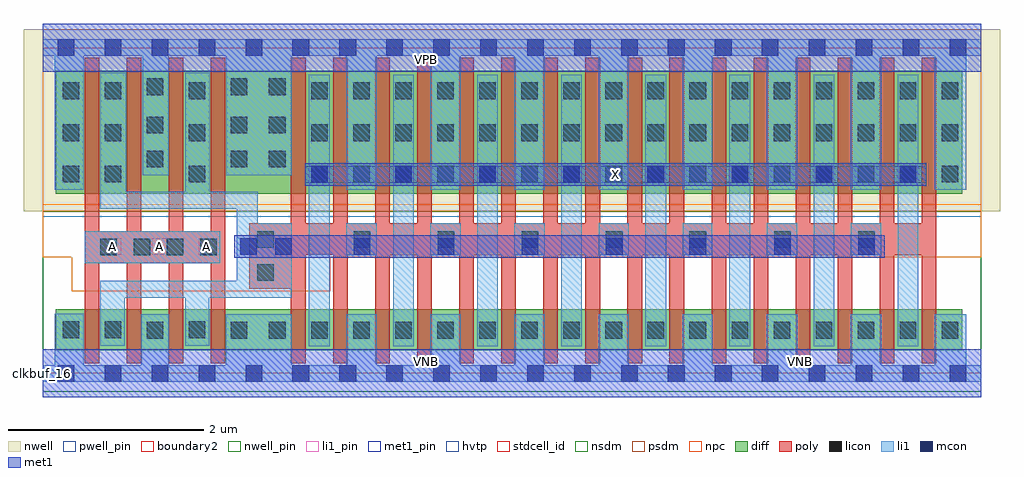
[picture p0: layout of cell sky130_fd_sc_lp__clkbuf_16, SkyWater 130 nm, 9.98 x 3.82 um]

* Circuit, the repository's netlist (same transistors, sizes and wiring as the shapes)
* Copyright 2020 The SkyWater PDK Authors
*
* Licensed under the Apache License, Version 2.0 (the "License");
* you may not use this file except in compliance with the License.
* You may obtain a copy of the License at
*
*     https://www.apache.org/licenses/LICENSE-2.0
*
* Unless required by applicable law or agreed to in writing, software
* distributed under the License is distributed on an "AS IS" BASIS,
* WITHOUT WARRANTIES OR CONDITIONS OF ANY KIND, either express or implied.
* See the License for the specific language governing permissions and
* limitations under the License.
*
* SPDX-License-Identifier: Apache-2.0

.SUBCKT sky130_fd_sc_lp__clkbuf_16 A VGND VNB VPB VPWR X
*.PININFO A:I VGND:I VNB:I VPB:I VPWR:I X:O
MMIN0 Ab A VGND VNB sky130_fd_pr__nfet_01v8 m=4 w=0.42U l=0.15U mult=1 sa=0.265
+ sb=0.265 sd=0.28 area=0.063 perim=1.14
MMIN1 X Ab VGND VNB sky130_fd_pr__nfet_01v8 m=16 w=0.42U l=0.15U mult=1 sa=0.265
+ sb=0.265 sd=0.28 area=0.063 perim=1.14
MMIP0 Ab A VPWR VPB sky130_fd_pr__pfet_01v8_hvt m=4 w=1.26U l=0.15U mult=1 sa=0.265
+ sb=0.265 sd=0.28 area=0.063 perim=1.14
MMIP1 X Ab VPWR VPB sky130_fd_pr__pfet_01v8_hvt m=16 w=1.26U l=0.15U mult=1 sa=0.265
+ sb=0.265 sd=0.28 area=0.063 perim=1.14
.ENDS sky130_fd_sc_lp__clkbuf_16

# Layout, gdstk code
import gdstk
lib = gdstk.Library(unit=1e-6, precision=1e-09)
def R(c, l, rs):  # rectangles x0, y0, x1, y1
    for r in rs: c.add(gdstk.rectangle(r[:2], r[2:], *l))
def A(c, l, x, y, w, h, nx, ny, dx, dy):  # array of equal rectangles
    R(c, l, [(x+i*dx, y+j*dy, x+i*dx+w, y+j*dy+h) for i in range(nx) for j in range(ny)])
def P(c, l, *ps):  # polygons
    for p in ps: c.add(gdstk.Polygon(p, *l))
nwell_pin = (64, 16)
nwell = (64, 20)
diff = (65, 20)
poly = (66, 20)
licon = (66, 44)
li1_pin = (67, 16)
li1 = (67, 20)
mcon = (67, 44)
met1_pin = (68, 16)
met1 = (68, 20)
hvtp = (78, 44)
stdcell_id = (81, 4)
nsdm = (93, 44)
psdm = (94, 20)
npc = (95, 20)
pwell_pin = (122, 16)
boundary2 = (236, 0)

sky130_fd_sc_lp__clkbuf_ = lib.new_cell('sky130_fd_sc_lp__clkbuf_16')
R(sky130_fd_sc_lp__clkbuf_, nwell_pin, [(0,3.085,9.6,3.33)])
R(sky130_fd_sc_lp__clkbuf_, nwell, [(-0.19,1.655,9.79,3.52)])
R(sky130_fd_sc_lp__clkbuf_, diff, [(0.135,0.235,9.405,0.655), (0.135,1.835,9.405,3.095)])
P(sky130_fd_sc_lp__clkbuf_, poly, [(1.87,3.225),(1.72,3.225),(1.72,1.455),(1.44,1.455),(1.44,3.225),(1.29,3.225),(1.29,1.455),(1.01,1.455),(1.01,3.225),(0.86,3.225),(0.86,1.455),(0.58,1.455),(0.58,3.225),(0.43,3.225),(0.43,0.105),(0.58,0.105),(0.58,1.125),(0.86,1.125),(0.86,0.105),(1.01,0.105),(1.01,1.125),(1.29,1.125),(1.29,0.105),(1.44,0.105),(1.44,1.125),(1.72,1.125),(1.72,0.105),(1.87,0.105)],
  [(9.14,3.225),(8.99,3.225),(8.99,1.535),(8.71,1.535),(8.71,3.225),(8.56,3.225),(8.56,1.535),(8.28,1.535),(8.28,3.225),(8.13,3.225),(8.13,1.535),(7.85,1.535),(7.85,3.225),(7.7,3.225),(7.7,1.535),(7.42,1.535),(7.42,3.225),(7.27,3.225),(7.27,1.535),(6.99,1.535),(6.99,3.225),(6.84,3.225),(6.84,1.535),(6.56,1.535),(6.56,3.225),(6.41,3.225),(6.41,1.535),(6.13,1.535),(6.13,3.225),(5.98,3.225),(5.98,1.535),(5.7,1.535),(5.7,3.225),(5.55,3.225),(5.55,1.535),(5.27,1.535),(5.27,3.225),(5.12,3.225),(5.12,1.535),(4.84,1.535),(4.84,3.225),(4.69,3.225),(4.69,1.535),(4.41,1.535),(4.41,3.225),(4.26,3.225),(4.26,1.535),(3.98,1.535),(3.98,3.225),(3.83,3.225),(3.83,1.535),(3.55,1.535),(3.55,3.225),(3.4,3.225),(3.4,1.535),(3.12,1.535),(3.12,3.225),(2.97,3.225),(2.97,1.535),(2.69,1.535),(2.69,3.225),(2.54,3.225),(2.54,1.535),(2.115,1.535),(2.115,0.865),(2.54,0.865),(2.54,0.105),(2.69,0.105),(2.69,1.21),(2.97,1.21),(2.97,0.105),(3.12,0.105),(3.12,1.205),(3.4,1.205),(3.4,0.105),(3.55,0.105),(3.55,1.205),(3.83,1.205),(3.83,0.105),(3.98,0.105),(3.98,1.205),(4.26,1.205),(4.26,0.105),(4.41,0.105),(4.41,1.205),(4.69,1.205),(4.69,0.105),(4.84,0.105),(4.84,1.205),(5.12,1.205),(5.12,0.105),(5.27,0.105),(5.27,1.205),(5.55,1.205),(5.55,0.105),(5.7,0.105),(5.7,1.205),(5.98,1.205),(5.98,0.105),(6.13,0.105),(6.13,1.205),(6.41,1.205),(6.41,0.105),(6.56,0.105),(6.56,1.205),(6.84,1.205),(6.84,0.105),(6.99,0.105),(6.99,1.205),(7.27,1.205),(7.27,0.105),(7.42,0.105),(7.42,1.205),(7.7,1.205),(7.7,0.105),(7.85,0.105),(7.85,1.205),(8.13,1.205),(8.13,0.105),(8.28,0.105),(8.28,1.205),(8.56,1.205),(8.56,0.105),(8.71,0.105),(8.71,1.205),(8.99,1.205),(8.99,0.105),(9.14,0.105)])
A(sky130_fd_sc_lp__clkbuf_, licon, 2.315, 0.355, 0.17, 0.17, 17, 1, 0.43, 0)
A(sky130_fd_sc_lp__clkbuf_, licon, 0.59, 1.205, 0.17, 0.17, 4, 1, 0.34, 0)
A(sky130_fd_sc_lp__clkbuf_, licon, 3.18, 1.285, 0.17, 0.17, 4, 1, 0.86, 0)
A(sky130_fd_sc_lp__clkbuf_, licon, 2.745, 1.955, 0.17, 0.17, 16, 2, 0.43, 0.42)
A(sky130_fd_sc_lp__clkbuf_, licon, 2.745, 2.805, 0.17, 0.17, 16, 1, 0.43, 0)
R(sky130_fd_sc_lp__clkbuf_, licon, [(1.065,0.355,1.235,0.525), (1.925,0.355,2.095,0.525), (0.205,0.36,0.375,0.53), (0.635,0.36,0.805,0.53), (1.495,0.36,1.665,0.53), (2.195,0.945,2.365,1.115), (2.195,1.285,2.365,1.455), (6.615,1.285,6.785,1.455), (7.48,1.285,7.65,1.455), (8.34,1.285,8.51,1.455), (0.205,1.955,0.375,2.125), (0.635,1.955,0.805,2.125), (1.495,1.955,1.665,2.125), (1.065,2.105,1.235,2.275), (1.925,2.105,2.095,2.275), (2.315,2.105,2.485,2.275), (0.205,2.375,0.375,2.545), (0.635,2.375,0.805,2.545), (1.495,2.375,1.665,2.545), (1.065,2.455,1.235,2.625), (1.925,2.455,2.095,2.625), (2.315,2.455,2.485,2.625), (0.205,2.805,0.375,2.975), (0.635,2.805,0.805,2.975), (1.495,2.805,1.665,2.975), (1.065,2.845,1.235,3.015), (1.925,2.845,2.095,3.015), (2.315,2.845,2.485,3.015)])
A(sky130_fd_sc_lp__clkbuf_, li1_pin, 0.635, 1.21, 0.17, 0.17, 3, 1, 0.48, 0)
A(sky130_fd_sc_lp__clkbuf_, li1, 3.585, 0.275, 0.21, 2.78, 4, 1, 0.86, 0)
A(sky130_fd_sc_lp__clkbuf_, li1, 3.105, 1.205, 0.31, 0.33, 4, 1, 0.86, 0)
R(sky130_fd_sc_lp__clkbuf_, li1, [(2.72,0.275,2.935,3.055), (7.02,0.275,7.235,3.055), (7.885,0.275,8.095,3.055), (8.745,0.275,8.955,3.055), (0.43,1.125,1.815,1.455), (6.545,1.205,6.85,1.535), (7.405,1.205,7.715,1.535), (8.265,1.205,8.575,1.535)])
P(sky130_fd_sc_lp__clkbuf_, li1, [(9.6,0.085),(9.445,0.085),(9.445,0.605),(9.125,0.605),(9.125,0.085),(8.575,0.085),(8.575,0.605),(8.265,0.605),(8.265,0.085),(7.715,0.085),(7.715,0.605),(7.405,0.605),(7.405,0.085),(6.85,0.085),(6.85,0.605),(6.545,0.605),(6.545,0.085),(5.995,0.085),(5.995,0.605),(5.685,0.605),(5.685,0.085),(5.135,0.085),(5.135,0.605),(4.825,0.605),(4.825,0.085),(4.275,0.085),(4.275,0.605),(3.965,0.605),(3.965,0.085),(3.415,0.085),(3.415,0.605),(3.105,0.605),(3.105,0.085),(2.55,0.085),(2.55,0.605),(1.875,0.605),(1.875,0.085),(1.29,0.085),(1.29,0.605),(1.01,0.605),(1.01,0.085),(0.42,0.085),(0.42,0.61),(0.125,0.61),(0.125,0.085),(0,0.085),(0,-0.085),(9.6,-0.085)],
  [(9.6,3.415),(0,3.415),(0,3.245),(0.125,3.245),(0.125,1.875),(0.42,1.875),(0.42,3.245),(1.025,3.245),(1.025,2.025),(1.29,2.025),(1.29,3.245),(1.88,3.245),(1.88,2.025),(2.55,2.025),(2.55,3.245),(3.105,3.245),(3.105,1.875),(3.415,1.875),(3.415,3.245),(3.965,3.245),(3.965,1.875),(4.275,1.875),(4.275,3.245),(4.825,3.245),(4.825,1.875),(5.135,1.875),(5.135,3.245),(5.685,3.245),(5.685,1.875),(5.995,1.875),(5.995,3.245),(6.545,3.245),(6.545,1.875),(6.85,1.875),(6.85,3.245),(7.405,3.245),(7.405,1.875),(7.715,1.875),(7.715,3.245),(8.265,3.245),(8.265,1.875),(8.575,1.875),(8.575,3.245),(9.125,3.245),(9.125,1.875),(9.445,1.875),(9.445,3.245),(9.6,3.245)],
  [(2.55,1.535),(2.2,1.535),(2.2,1.855),(1.71,1.855),(1.71,3.075),(1.46,3.075),(1.46,1.855),(0.855,1.855),(0.855,3.075),(0.59,3.075),(0.59,1.685),(1.985,1.685),(1.985,0.945),(0.59,0.945),(0.59,0.28),(0.84,0.28),(0.84,0.775),(1.46,0.775),(1.46,0.28),(1.705,0.28),(1.705,0.775),(2.55,0.775)])
A(sky130_fd_sc_lp__clkbuf_, mcon, 0.155, -0.085, 0.17, 0.17, 20, 2, 0.48, 3.33)
A(sky130_fd_sc_lp__clkbuf_, mcon, 3.18, 1.21, 0.17, 0.17, 4, 1, 0.86, 0)
A(sky130_fd_sc_lp__clkbuf_, mcon, 2.745, 1.95, 0.17, 0.17, 8, 1, 0.86, 0)
R(sky130_fd_sc_lp__clkbuf_, mcon, [(2.02,1.21,2.19,1.38), (2.38,1.21,2.55,1.38), (6.615,1.21,6.785,1.38), (7.48,1.21,7.65,1.38), (8.34,1.21,8.51,1.38)])
R(sky130_fd_sc_lp__clkbuf_, met1_pin, [(0,0,9.6,0.245), (2.685,1.95,9.035,2.12), (0,3.085,9.6,3.33)])
R(sky130_fd_sc_lp__clkbuf_, met1, [(0,-0.245,9.6,0.245), (1.96,1.18,8.61,1.41), (2.685,1.92,9.035,2.15), (0,3.085,9.6,3.575)])
R(sky130_fd_sc_lp__clkbuf_, hvtp, [(0,1.6,9.6,3.33)])
R(sky130_fd_sc_lp__clkbuf_, stdcell_id, [(0,0,9.6,3.33)])
R(sky130_fd_sc_lp__clkbuf_, nsdm, [(0,-0.19,9.6,1.655)])
R(sky130_fd_sc_lp__clkbuf_, psdm, [(0,1.655,9.6,3.52)])
P(sky130_fd_sc_lp__clkbuf_, npc, [(9.6,1.73),(0,1.73),(0,1.185),(0.3,1.185),(0.3,0.84),(2.94,0.84),(2.94,1.185),(9.6,1.185)])
R(sky130_fd_sc_lp__clkbuf_, pwell_pin, [(0,0,9.6,0.245)])
R(sky130_fd_sc_lp__clkbuf_, boundary2, [(0,0,9.6,3.33)])
sky130_fd_sc_lp__clkbuf_.add(gdstk.Label('VNB', (3.925,0.123), layer=64, texttype=59))
sky130_fd_sc_lp__clkbuf_.add(gdstk.Label('VNB', (7.755,0.123), layer=64, texttype=59))
sky130_fd_sc_lp__clkbuf_.add(gdstk.Label('VPB', (3.925,3.208), layer=64, texttype=5))
sky130_fd_sc_lp__clkbuf_.add(gdstk.Label('clkbuf_16', (0,0), layer=83, texttype=44))
sky130_fd_sc_lp__clkbuf_.add(gdstk.Label('VPWR', (3.925,3.208), layer=68, texttype=5))
sky130_fd_sc_lp__clkbuf_.add(gdstk.Label('VGND', (3.925,0.123), layer=68, texttype=5))
sky130_fd_sc_lp__clkbuf_.add(gdstk.Label('X', (5.86,2.035), layer=68, texttype=5))
sky130_fd_sc_lp__clkbuf_.add(gdstk.Label('A', (1.68,1.295), layer=67, texttype=5))
sky130_fd_sc_lp__clkbuf_.add(gdstk.Label('A', (1.2,1.295), layer=67, texttype=5))
sky130_fd_sc_lp__clkbuf_.add(gdstk.Label('A', (0.72,1.295), layer=67, texttype=5))

lib.write_gds('sky130_fd_sc_lp__clkbuf_16.gds')
